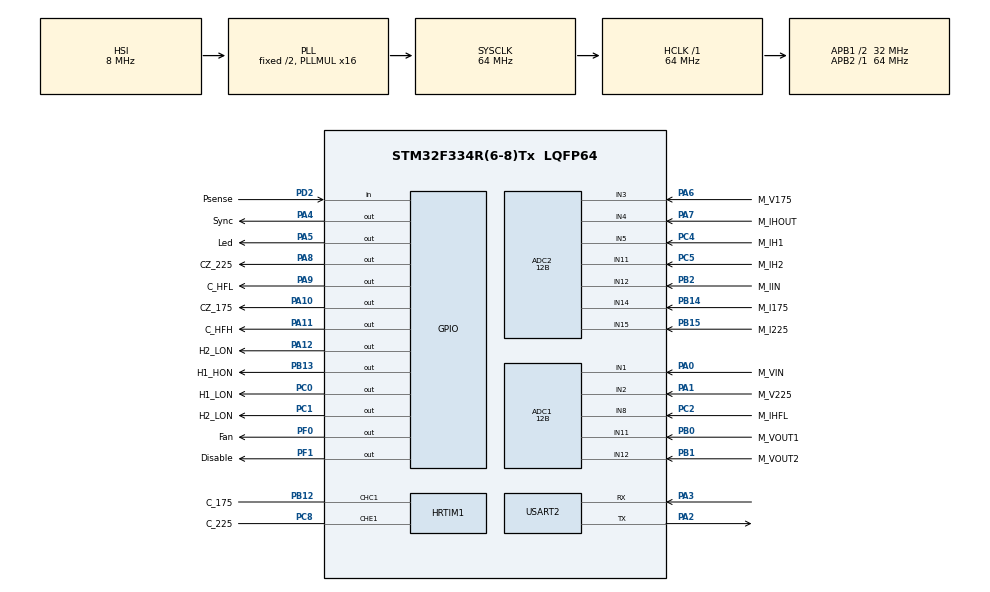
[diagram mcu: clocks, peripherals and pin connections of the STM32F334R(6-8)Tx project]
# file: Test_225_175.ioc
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ADC1.Channel-17\#ChannelRegularConversion=ADC_CHANNEL_1
ADC1.Channel-18\#ChannelRegularConversion=ADC_CHANNEL_2
ADC1.Channel-19\#ChannelRegularConversion=ADC_CHANNEL_8
ADC1.Channel-20\#ChannelRegularConversion=ADC_CHANNEL_11
ADC1.Channel-21\#ChannelRegularConversion=ADC_CHANNEL_12
ADC1.Channel-22\#ChannelRegularConversion=ADC_CHANNEL_TEMPSENSOR
ADC1.ClockPrescaler=ADC_CLOCK_SYNC_PCLK_DIV1
ADC1.ContinuousConvMode=DISABLE
ADC1.DMAContinuousRequests=ENABLE
ADC1.DataAlign=ADC_DATAALIGN_RIGHT
ADC1.DiscontinuousConvMode=DISABLE
ADC1.EOCSelection=ADC_EOC_SEQ_CONV
ADC1.EnableAnalogWatchDog1=false
ADC1.EnableAnalogWatchDog2=false
ADC1.EnableAnalogWatchDog3=false
ADC1.EnableInjectedConversion=DISABLE
ADC1.EnableRegularConversion=ENABLE
ADC1.ExternalTrigConv=ADC_EXTERNALTRIGCONV_T2_TRGO
ADC1.ExternalTrigConvEdge=ADC_EXTERNALTRIGCONVEDGE_RISING
ADC1.LowPowerAutoWait=DISABLE
ADC1.NbrOfConversion=6
ADC1.NbrOfConversionFlag=1
ADC1.Offset-17\#ChannelRegularConversion=0
ADC1.Offset-18\#ChannelRegularConversion=0
ADC1.Offset-19\#ChannelRegularConversion=0
ADC1.Offset-20\#ChannelRegularConversion=0
ADC1.Offset-21\#ChannelRegularConversion=0
ADC1.Offset-22\#ChannelRegularConversion=0
ADC1.OffsetNumber-17\#ChannelRegularConversion=ADC_OFFSET_NONE
ADC1.OffsetNumber-18\#ChannelRegularConversion=ADC_OFFSET_NONE
ADC1.OffsetNumber-19\#ChannelRegularConversion=ADC_OFFSET_NONE
ADC1.OffsetNumber-20\#ChannelRegularConversion=ADC_OFFSET_NONE
ADC1.OffsetNumber-21\#ChannelRegularConversion=ADC_OFFSET_NONE
ADC1.OffsetNumber-22\#ChannelRegularConversion=ADC_OFFSET_NONE
ADC1.Overrun=ADC_OVR_DATA_OVERWRITTEN
ADC1.Rank-17\#ChannelRegularConversion=1
ADC1.Rank-18\#ChannelRegularConversion=2
ADC1.Rank-19\#ChannelRegularConversion=3
ADC1.Rank-20\#ChannelRegularConversion=4
ADC1.Rank-21\#ChannelRegularConversion=5
ADC1.Rank-22\#ChannelRegularConversion=6
ADC1.Resolution=ADC_RESOLUTION_12B
ADC1.SamplingTime-17\#ChannelRegularConversion=ADC_SAMPLETIME_4CYCLES_5
ADC1.SamplingTime-18\#ChannelRegularConversion=ADC_SAMPLETIME_4CYCLES_5
ADC1.SamplingTime-19\#ChannelRegularConversion=ADC_SAMPLETIME_19CYCLES_5
ADC1.SamplingTime-20\#ChannelRegularConversion=ADC_SAMPLETIME_19CYCLES_5
ADC1.SamplingTime-21\#ChannelRegularConversion=ADC_SAMPLETIME_19CYCLES_5
ADC1.SamplingTime-22\#ChannelRegularConversion=ADC_SAMPLETIME_19CYCLES_5
ADC1.ScanConvMode=ADC_SCAN_ENABLE
ADC1.SubFamily=STM32F334x8
ADC1.master=1
ADC2.Channel-0\#ChannelRegularConversion=ADC_CHANNEL_3
ADC2.Channel-1\#ChannelRegularConversion=ADC_CHANNEL_4
ADC2.Channel-2\#ChannelRegularConversion=ADC_CHANNEL_5
ADC2.Channel-3\#ChannelRegularConversion=ADC_CHANNEL_11
ADC2.Channel-4\#ChannelRegularConversion=ADC_CHANNEL_12
ADC2.Channel-5\#ChannelRegularConversion=ADC_CHANNEL_14
ADC2.Channel-7\#ChannelRegularConversion=ADC_CHANNEL_15
ADC2.ClockPrescaler=ADC_CLOCK_SYNC_PCLK_DIV1
ADC2.ContinuousConvMode=DISABLE
ADC2.DMAContinuousRequests=ENABLE
ADC2.DataAlign=ADC_DATAALIGN_RIGHT
ADC2.DiscontinuousConvMode=DISABLE
ADC2.EOCSelection=ADC_EOC_SEQ_CONV
ADC2.EnableAnalogWatchDog1=false
ADC2.EnableAnalogWatchDog2=false
ADC2.EnableAnalogWatchDog3=false
ADC2.EnableInjectedConversion=ENABLE
ADC2.EnableRegularConversion=ENABLE
ADC2.ExternalTrigConv=ADC_EXTERNALTRIGCONV_T2_TRGO
ADC2.ExternalTrigConvEdge=ADC_EXTERNALTRIGCONVEDGE_RISING
ADC2.InjNumberOfConversion=0
ADC2.LowPowerAutoWait=DISABLE
ADC2.NbrOfConversion=7
ADC2.NbrOfConversionFlag=1
ADC2.Offset-0\#ChannelRegularConversion=0
ADC2.Offset-1\#ChannelRegularConversion=0
ADC2.Offset-2\#ChannelRegularConversion=0
ADC2.Offset-3\#ChannelRegularConversion=0
ADC2.Offset-4\#ChannelRegularConversion=0
ADC2.Offset-5\#ChannelRegularConversion=0
ADC2.Offset-7\#ChannelRegularConversion=0
ADC2.OffsetNumber-0\#ChannelRegularConversion=ADC_OFFSET_NONE
ADC2.OffsetNumber-1\#ChannelRegularConversion=ADC_OFFSET_NONE
ADC2.OffsetNumber-2\#ChannelRegularConversion=ADC_OFFSET_NONE
ADC2.OffsetNumber-3\#ChannelRegularConversion=ADC_OFFSET_NONE
ADC2.OffsetNumber-4\#ChannelRegularConversion=ADC_OFFSET_NONE
ADC2.OffsetNumber-5\#ChannelRegularConversion=ADC_OFFSET_NONE
ADC2.OffsetNumber-7\#ChannelRegularConversion=ADC_OFFSET_NONE
ADC2.Overrun=ADC_OVR_DATA_OVERWRITTEN
ADC2.Rank-0\#ChannelRegularConversion=1
ADC2.Rank-1\#ChannelRegularConversion=2
ADC2.Rank-2\#ChannelRegularConversion=3
ADC2.Rank-3\#ChannelRegularConversion=4
ADC2.Rank-4\#ChannelRegularConversion=5
ADC2.Rank-5\#ChannelRegularConversion=6
ADC2.Rank-7\#ChannelRegularConversion=7
ADC2.Resolution=ADC_RESOLUTION_12B
ADC2.SamplingTime-0\#ChannelRegularConversion=ADC_SAMPLETIME_4CYCLES_5
ADC2.SamplingTime-1\#ChannelRegularConversion=ADC_SAMPLETIME_4CYCLES_5
ADC2.SamplingTime-2\#ChannelRegularConversion=ADC_SAMPLETIME_19CYCLES_5
ADC2.SamplingTime-3\#ChannelRegularConversion=ADC_SAMPLETIME_19CYCLES_5
ADC2.SamplingTime-4\#ChannelRegularConversion=ADC_SAMPLETIME_19CYCLES_5
ADC2.SamplingTime-5\#ChannelRegularConversion=ADC_SAMPLETIME_19CYCLES_5
ADC2.SamplingTime-7\#ChannelRegularConversion=ADC_SAMPLETIME_19CYCLES_5
ADC2.ScanConvMode=ADC_SCAN_ENABLE
ADC2.SubFamily=STM32F334x8
Dma.ADC1.0.Direction=DMA_PERIPH_TO_MEMORY
Dma.ADC1.0.Instance=DMA1_Channel1
Dma.ADC1.0.MemDataAlignment=DMA_MDATAALIGN_HALFWORD
Dma.ADC1.0.MemInc=DMA_MINC_ENABLE
Dma.ADC1.0.Mode=DMA_CIRCULAR
Dma.ADC1.0.PeriphDataAlignment=DMA_PDATAALIGN_HALFWORD
Dma.ADC1.0.PeriphInc=DMA_PINC_DISABLE
Dma.ADC1.0.Priority=DMA_PRIORITY_LOW
Dma.ADC2.1.Direction=DMA_PERIPH_TO_MEMORY
Dma.ADC2.1.Instance=DMA1_Channel2
Dma.ADC2.1.MemDataAlignment=DMA_MDATAALIGN_HALFWORD
Dma.ADC2.1.MemInc=DMA_MINC_ENABLE
Dma.ADC2.1.Mode=DMA_CIRCULAR
Dma.ADC2.1.PeriphDataAlignment=DMA_PDATAALIGN_HALFWORD
Dma.ADC2.1.PeriphInc=DMA_PINC_DISABLE
Dma.ADC2.1.Priority=DMA_PRIORITY_LOW
Dma.Request0=ADC1
Dma.Request1=ADC2
HRTIM1.BURSTMODEPeriod=100
HRTIM1.BurstMode-Output_TE1=HRTIM_TIMERBURSTMODE_MAINTAINCLOCK
HRTIM1.ClockSource=HRTIM_BURSTMODECLOCKSOURCE_TIMER_E
HRTIM1.CompareUnit1-Output_TC1=HRTIM_COMPAREUNIT_1
HRTIM1.CompareUnit1-Output_TE1=HRTIM_COMPAREUNIT_1
HRTIM1.CompareUnit2-Output_TE1=__NULL
HRTIM1.CompareValue1-Output_TC1=6192
HRTIM1.CompareValue1-Output_TE1=8192
HRTIM1.CompareValue2-Output_TE1=0x61
HRTIM1.Enable=HRTIM_BURSTMODECTL_DISABLED
HRTIM1.Event_EEV1=__NULL
HRTIM1.Event_EEV2=__NULL
HRTIM1.Event_EEV3=__NULL
HRTIM1.HalfModeEnable-Output_TE1=HRTIM_HALFMODE_DISABLED
HRTIM1.IdleDuration=50
HRTIM1.IdleLevel1-Output_TE1=HRTIM_OUTPUTIDLELEVEL_INACTIVE
HRTIM1.Mode=HRTIM_BURSTMODE_CONTINOUS
HRTIM1.ModeTimeBase-Output_TE1=HRTIM_MODE_CONTINUOUS
HRTIM1.NumberResetSource1-Output_TC1=1
HRTIM1.NumberResetSource1-Output_TE1=1
HRTIM1.NumberResetTrigger-Output_TC1=0
HRTIM1.NumberResetTrigger-Output_TE1=0
HRTIM1.NumberSetSource1-Output_TC1=1
HRTIM1.NumberSetSource1-Output_TE1=1
HRTIM1.NumberUpdateTrigger-Output_TC1=0
HRTIM1.Periode_TC=16384
HRTIM1.Periode_TE=16384
HRTIM1.Polarity1-Output_TE1=HRTIM_OUTPUTPOLARITY_HIGH
HRTIM1.RepetitionUpdate-Output_TE1=HRTIM_UPDATEONREPETITION_DISABLED
HRTIM1.ResetOutput1_Source1-Output_TC1=HRTIM_OUTPUTRESET_TIMCMP1
HRTIM1.ResetOutput1_Source1-Output_TE1=HRTIM_OUTPUTRESET_TIMCMP1
HRTIM1.ResetUpdate-Output_TE1=HRTIM_TIMUPDATEONRESET_DISABLED
HRTIM1.SetOutput1_Source1-Output_TC1=HRTIM_OUTPUTSET_TIMPER
HRTIM1.SetOutput1_Source1-Output_TE1=HRTIM_OUTPUTSET_TIMPER
HRTIM1.Source_EEV3=HRTIM_EVENTSRC_3
Mcu.Family=STM32F3
Mcu.Name=STM32F334R(6-8)Tx
Mcu.Package=LQFP64
NVIC.DMA1_Channel1_IRQn=true\:0\:0\:false\:false\:true\:false
NVIC.DMA1_Channel2_IRQn=true\:0\:0\:false\:false\:true\:false
NVIC.PriorityGroup=NVIC_PRIORITYGROUP_4
NVIC.TIM3_IRQn=true\:0\:0\:false\:false\:true\:true
PA0.GPIO_Label=M_VIN
PA0.Mode=IN1-Single-Ended
PA0.Signal=ADC1_IN1
PA1.GPIO_Label=M_V225
PA1.Mode=IN2-Single-Ended
PA1.Signal=ADC1_IN2
PA10.GPIO_Label=CZ_175
PA10.Signal=GPIO_Output
PA11.GPIO_Label=C_HFH
PA11.Signal=GPIO_Output
PA12.GPIO_Label=H2_LON
PA12.Signal=GPIO_Output
PA2.Mode=Asynchronous
PA2.Signal=USART2_TX
PA3.Mode=Asynchronous
PA3.Signal=USART2_RX
PA4.GPIO_Label=Sync
PA4.GPIO_Speed=GPIO_SPEED_FREQ_HIGH
PA4.Signal=GPIO_Output
PA5.GPIO_Label=Led
PA5.GPIO_Speed=GPIO_SPEED_FREQ_HIGH
PA5.Signal=GPIO_Output
PA6.GPIO_Label=M_V175
PA6.Mode=IN3-Single-Ended
PA6.Signal=ADC2_IN3
PA7.GPIO_Label=M_IHOUT
PA7.Mode=IN4-Single-Ended
PA7.Signal=ADC2_IN4
PA8.GPIO_Label=CZ_225
PA8.Signal=GPIO_Output
PA9.GPIO_Label=C_HFL
PA9.Signal=GPIO_Output
PB0.GPIO_Label=M_VOUT1
PB0.Mode=IN11-Single-Ended
PB0.Signal=ADC1_IN11
PB1.GPIO_Label=M_VOUT2
PB1.Mode=IN12-Single-Ended
PB1.Signal=ADC1_IN12
PB12.GPIO_Label=C_175
PB12.Mode=Output_TC1
PB12.Signal=HRTIM1_CHC1
PB13.GPIO_Label=H1_HON
PB13.Signal=GPIO_Output
PB14.GPIO_Label=M_I175
PB14.Mode=IN14-Single-Ended
PB14.Signal=ADC2_IN14
PB15.GPIO_Label=M_I225
PB15.Mode=IN15-Single-Ended
PB15.Signal=ADC2_IN15
PB2.GPIO_Label=M_IIN
PB2.Mode=IN12-Single-Ended
PB2.Signal=ADC2_IN12
PC0.GPIO_Label=H1_LON
PC0.Signal=GPIO_Output
PC1.GPIO_Label=H2_LON
PC1.Signal=GPIO_Output
PC2.GPIO_Label=M_IHFL
PC2.Signal=ADCx_IN8
PC4.GPIO_Label=M_IH1
PC4.Mode=IN5-Single-Ended
PC4.Signal=ADC2_IN5
PC5.GPIO_Label=M_IH2
PC5.Mode=IN11-Single-Ended
PC5.Signal=ADC2_IN11
PC8.GPIO_Label=C_225
PC8.Mode=Output_TE1
PC8.Signal=HRTIM1_CHE1
PD2.GPIO_Label=Psense
PD2.Signal=GPIO_Input
PF0\ /\ OSC_IN.GPIO_Label=Fan
PF0\ /\ OSC_IN.Signal=GPIO_Output
PF1\ /\ OSC_OUT.GPIO_Label=Disable
PF1\ /\ OSC_OUT.GPIO_Speed=GPIO_SPEED_FREQ_HIGH
PF1\ /\ OSC_OUT.PinState=GPIO_PIN_SET
PF1\ /\ OSC_OUT.Signal=GPIO_Output
ProjectManager.HeapSize=0x200
ProjectManager.StackSize=0x400
ProjectManager.TargetToolchain=Other Toolchains (GPDSC)
RCC.AHBFreq_Value=64000000
RCC.APB1CLKDivider=RCC_HCLK_DIV2
RCC.APB1Freq_Value=32000000
RCC.APB1TimFreq_Value=64000000
RCC.APB2Freq_Value=64000000
RCC.APB2TimFreq_Value=64000000
RCC.CortexFreq_Value=64000000
RCC.HCLKFreq_Value=64000000
RCC.HRTIMSelection=RCC_HRTIM1CLK_PLLCLK
RCC.HSE_VALUE=8000000
RCC.HSI_VALUE=8000000
RCC.LSE_VALUE=32768
RCC.PLLMUL=RCC_PLL_MUL16
RCC.SYSCLKFreq_VALUE=64000000
RCC.SYSCLKSourceVirtual=RCC_SYSCLKSOURCE_PLLCLK
SH.ADCx_IN8.0=ADC1_IN8,IN8-Single-Ended
TIM2.Channel-Output\ Compare1\ No\ Output=TIM_CHANNEL_1
TIM2.OCMode_1=TIM_OCMODE_TOGGLE
TIM2.Period=200
TIM2.Prescaler=64
TIM2.Pulse-Output\ Compare1\ No\ Output=1
TIM2.TIM_MasterOutputTrigger=TIM_TRGO_UPDATE
TIM3.Channel-Output\ Compare3\ No\ Output=TIM_CHANNEL_3
TIM3.OCMode_3=TIM_OCMODE_TOGGLE
TIM3.Period=200
TIM3.Prescaler=64
TIM3.Pulse-Output\ Compare3\ No\ Output=1
TIM3.TIM_MasterOutputTrigger=TIM_TRGO_UPDATE
USART2.VirtualMode-Asynchronous=VM_ASYNC
USART2.WordLength=WORDLENGTH_8B
VP_ADC1_TempSens_Input.Mode=IN-TempSens
VP_CRC_VS_CRC.Mode=CRC_Activate
VP_TIM2_VS_ClockSourceINT.Mode=Internal
VP_TIM2_VS_no_output1.Mode=Output Compare1 No Output
VP_TIM3_VS_ClockSourceINT.Mode=Internal
VP_TIM3_VS_no_output3.Mode=Output Compare3 No Output
board=Test_225_175

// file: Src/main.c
/**
  ******************************************************************************
  * File Name          : main.c
  * Description        : Main program body
  ******************************************************************************
  ** This notice applies to any and all portions of this file
  * that are not between comment pairs USER CODE BEGIN and
  * USER CODE END. Other portions of this file, whether
  * inserted by the user or by software development tools
  * are owned by their respective copyright owners.
  *
  * COPYRIGHT(c) 2017 STMicroelectronics
  *
  * Redistribution and use in source and binary forms, with or without modification,
  * are permitted provided that the following conditions are met:
  *   1. Redistributions of source code must retain the above copyright notice,
  *      this list of conditions and the following disclaimer.
  *   2. Redistributions in binary form must reproduce the above copyright notice,
  *      this list of conditions and the following disclaimer in the documentation
  *      and/or other materials provided with the distribution.
  *   3. Neither the name of STMicroelectronics nor the names of its contributors
  *      may be used to endorse or promote products derived from this software
  *      without specific prior written permission.
  *
  * THIS SOFTWARE IS PROVIDED BY THE COPYRIGHT HOLDERS AND CONTRIBUTORS "AS IS"
  * AND ANY EXPRESS OR IMPLIED WARRANTIES, INCLUDING, BUT NOT LIMITED TO, THE
  * IMPLIED WARRANTIES OF MERCHANTABILITY AND FITNESS FOR A PARTICULAR PURPOSE ARE
  * DISCLAIMED. IN NO EVENT SHALL THE COPYRIGHT HOLDER OR CONTRIBUTORS BE LIABLE
  * FOR ANY DIRECT, INDIRECT, INCIDENTAL, SPECIAL, EXEMPLARY, OR CONSEQUENTIAL
  * DAMAGES (INCLUDING, BUT NOT LIMITED TO, PROCUREMENT OF SUBSTITUTE GOODS OR
  * SERVICES; LOSS OF USE, DATA, OR PROFITS; OR BUSINESS INTERRUPTION) HOWEVER
  * CAUSED AND ON ANY THEORY OF LIABILITY, WHETHER IN CONTRACT, STRICT LIABILITY,
  * OR TORT (INCLUDING NEGLIGENCE OR OTHERWISE) ARISING IN ANY WAY OUT OF THE USE
  * OF THIS SOFTWARE, EVEN IF ADVISED OF THE POSSIBILITY OF SUCH DAMAGE.
  *
  ******************************************************************************
  */
#include "main.h"
#include "stm32f3xx_hal.h"
#include "adc.h"
#include "crc.h"
#include "dma.h"
#include "hrtim.h"
#include "tim.h"
#include "usart.h"
#include "gpio.h"

/* USER CODE BEGIN Includes */
#include <stdbool.h>
/* USER CODE END Includes */

/* USER CODE BEGIN PV */
/* Private variables ---------------------------------------------------------*/

/* USER CODE END PV */

void SystemClock_Config(void);

/* USER CODE BEGIN PFP */
/* Private function prototypes -----------------------------------------------*/

/* USER CODE END PFP */

/* USER CODE BEGIN 0 */
void delay_us_DWT(int uSec)
{
	volatile uint32_t cycles = (SystemCoreClock / 1000000L)*uSec;
	volatile uint32_t start = DWT->CYCCNT;
	do {
	} while (DWT->CYCCNT - start < cycles);
}
#define ADC_BUFFER1_LENGTH 6
uint16_t g_ADCBuffer1[ADC_BUFFER1_LENGTH];
uint16_t * pM_VIN = &g_ADCBuffer1[0];
uint16_t * pM_V225 = &g_ADCBuffer1[1];
uint16_t * pM_IHFL = &g_ADCBuffer1[2];
uint16_t * pM_VOUT1 = &g_ADCBuffer1[3];
uint16_t * pM_VOUT2 = &g_ADCBuffer1[4];
uint16_t * pM_Temp = &g_ADCBuffer1[5];

#define ADC_BUFFER2_LENGTH 7
uint16_t g_ADCBuffer2[ADC_BUFFER2_LENGTH];
uint16_t * pM_V175 = &g_ADCBuffer2[0];
uint16_t * pM_IOUT = &g_ADCBuffer2[1];
uint16_t * pM_IH1 = &g_ADCBuffer2[2];
uint16_t * pM_IH2 = &g_ADCBuffer2[3];
uint16_t * pM_IIN = &g_ADCBuffer2[4];
uint16_t * pM_I175 = &g_ADCBuffer2[5];
uint16_t * pM_I225 = &g_ADCBuffer2[5];
const float mvFactor1 = 3300.0 / 4096 * 4422 / 22;
const float mvFactor2 = 3300.0 / 4096 * 2222 / 22;
const float iFactor = 1;

float fM_VIN, fM_V225, fM_IHFL, fM_VOUT1, fM_VOUT2, fM_Temp;
float fM_V175, fM_IOUT, fM_IH1, fM_IH2, fM_IIN, fM_I175, fM_I225;

int g_MeasurementNumber = 0;
int g_DMACount = 0;

void doSyncOn(){
	HAL_GPIO_WritePin(Sync_GPIO_Port, Sync_Pin, GPIO_PIN_SET);
}
void doSyncOff()
{
	HAL_GPIO_WritePin(Sync_GPIO_Port, Sync_Pin, GPIO_PIN_RESET);
}
void doLedOn(){
	HAL_GPIO_WritePin(Led_GPIO_Port, Led_Pin, GPIO_PIN_SET);
}
void doLedOff(){
	HAL_GPIO_WritePin(Led_GPIO_Port, Led_Pin, GPIO_PIN_RESET);
}
void doLed()
{
	HAL_GPIO_WritePin(Led_GPIO_Port, Led_Pin, GPIO_PIN_SET);
	HAL_GPIO_WritePin(Led_GPIO_Port, Led_Pin, GPIO_PIN_SET);
}

#define period  16364
static unsigned short compare_225 = period / 2;
static unsigned short compare_175 = period / 2;

bool stopped_225;
bool stopped_175;

#define max(a,b) (a>b?a:b)
#define min(a,b) (a>b?b:a)

void adjust_225_175()
{
	doLedOff();
	doLedOn();

	if (fabs(fM_VIN) < 10){
		return; // low voltage at input
	}
	float target_175 = fM_VIN * 0.45;
	float target_225 = fM_VIN * 0.55;

	float diff_175 = (target_175 - fM_V175) / fM_VIN;
	float diff_225 = (target_225 -fM_V225) / fM_VIN;
	int diff;

	HRTIM_CompareCfgTypeDef compareCfg;

	// 225 Timer E1 -> PC8  C_225 -> P1 -> U1(2) -> P23(1) -> Q1 L1 Q3 D3
	diff = diff_225 * period / 8;
	int sign_or_0 = (0 < diff) - (diff < 0);
	diff =  (diff ? sign_or_0 : 0) + diff * max(compare_225,96) / 40000;

	compareCfg.CompareValue = min(period - 96, max(95, compare_225 - diff));
	compare_225 = compareCfg.CompareValue; // remember previous value;

	if (compareCfg.CompareValue < 96) { // force inactive
		stopped_225 = true;
		HAL_HRTIM_WaveformOutputStop(&hhrtim1,
			HRTIM_OUTPUT_TE1);
		HAL_HRTIM_WaveformSetOutputLevel(&hhrtim1,
			HRTIM_TIMERINDEX_TIMER_E,
			HRTIM_OUTPUT_TE1,
			HRTIM_OUTPUTLEVEL_INACTIVE);
	} else if (compareCfg.CompareValue >= period - 96) { // force active
		stopped_225 = true;
		HAL_HRTIM_WaveformOutputStop(&hhrtim1,
			HRTIM_OUTPUT_TE1);
		HAL_HRTIM_WaveformSetOutputLevel(&hhrtim1,
			HRTIM_TIMERINDEX_TIMER_E,
			HRTIM_OUTPUT_TE1,
			HRTIM_OUTPUTLEVEL_ACTIVE);
	} else {
		if (stopped_225){
			HAL_HRTIM_WaveformOutputStart(&hhrtim1,
				HRTIM_OUTPUT_TE1);
			stopped_225 = false;
		}
		HAL_HRTIM_WaveformCompareConfig(&hhrtim1,
			HRTIM_TIMERINDEX_TIMER_E,
			HRTIM_COMPAREUNIT_1,
			&compareCfg);
	}

		// 175 Timer C1 -> PB12 C_175  -> P2 -> U1(1) -> P24(1) -> Q2 L2 Q4 D4
	diff = diff_175 * period / 8;
	sign_or_0 = (0 < diff) - (diff < 0);
	diff =  (diff ? sign_or_0 : 0) + diff *  max(compare_175, 96) / 40000;

	compareCfg.CompareValue = min(period - 96, max(95, compare_175 + diff));
	compare_175 = compareCfg.CompareValue;

	if (compareCfg.CompareValue < 96) {
		stopped_175 = true;
		HAL_HRTIM_WaveformOutputStop(&hhrtim1,
			HRTIM_OUTPUT_TC1);
		HAL_HRTIM_WaveformSetOutputLevel(&hhrtim1,
			HRTIM_TIMERINDEX_TIMER_C,
			HRTIM_OUTPUT_TC1,
			HRTIM_OUTPUTLEVEL_INACTIVE);
	} else if (compareCfg.CompareValue >= period - 96) {
		stopped_175 = true;
		HAL_HRTIM_WaveformOutputStop(&hhrtim1,
			HRTIM_OUTPUT_TC1);
		HAL_HRTIM_WaveformSetOutputLevel(&hhrtim1,
			HRTIM_TIMERINDEX_TIMER_C,
			HRTIM_OUTPUT_TC1,
			HRTIM_OUTPUTLEVEL_ACTIVE);
	} else {
		if (stopped_175) {
			HAL_HRTIM_WaveformOutputStart(&hhrtim1,
				HRTIM_OUTPUT_TC1);
			stopped_175 = false;
		}
		HAL_HRTIM_WaveformCompareConfig(&hhrtim1,
			HRTIM_TIMERINDEX_TIMER_C,
			HRTIM_COMPAREUNIT_1,
			&compareCfg);
	}
	doLedOff();
}

void HAL_ADC_ConvCpltCallback(ADC_HandleTypeDef* adcHandle)
{// end of DMA
	if (adcHandle == &hadc2){
		g_MeasurementNumber++;
		fM_VIN = g_ADCBuffer1[0] *mvFactor1;
		fM_V175 = g_ADCBuffer1[1] *mvFactor2;
		fM_IHFL = g_ADCBuffer1[2] *iFactor;
		fM_VOUT1 = g_ADCBuffer1[3] *mvFactor1;
		fM_VOUT2 = g_ADCBuffer1[4] *mvFactor1;
		fM_Temp = g_ADCBuffer1[5] *1;
		// ADC2
		fM_V225 = g_ADCBuffer2[0] *mvFactor2;
		fM_IOUT = g_ADCBuffer2[1] *mvFactor1;
		fM_IH1 = g_ADCBuffer2[2] *iFactor;
		fM_IH2 = g_ADCBuffer2[3] *iFactor;
		fM_IIN = g_ADCBuffer2[4] *iFactor;
		fM_I175 = g_ADCBuffer2[5] *iFactor;
		fM_I225 = g_ADCBuffer2[6] *iFactor;
		adjust_225_175();
	}

}

void HAL_TIM_OC_DelayElapsedCallback(TIM_HandleTypeDef *htim){
	if (htim == &htim3) {
		doLedOn();
	}
}

void HAL_TIM_PeriodElapsedCallback(TIM_HandleTypeDef *htim){
	if (htim == &htim3) {
		doLedOn();
	}
}

void doPin(GPIO_TypeDef* port, uint16_t pin)
{
	HAL_GPIO_WritePin(port, pin, GPIO_PIN_SET);
	delay_us_DWT(100);

	//HAL_GPIO_WritePin(Disable_GPIO_Port, Disable_Pin, GPIO_PIN_SET);
	delay_us_DWT(100);
	//HAL_GPIO_WritePin(Disable_GPIO_Port, Disable_Pin, GPIO_PIN_RESET);
	delay_us_DWT(100);
	HAL_GPIO_WritePin(port, pin, GPIO_PIN_RESET);
	delay_us_DWT(100);
}

/* USER CODE END 0 */

int main(void)
{

  /* USER CODE BEGIN 1 */
	DWT->CYCCNT = 0;
  // Enable hi resolution counter
	DWT->CTRL &= ~0x00000001;
	DWT->CTRL |= 0x00000001;
  /* USER CODE END 1 */

  /* MCU Configuration----------------------------------------------------------*/

  /* Reset of all peripherals, Initializes the Flash interface and the Systick. */
  HAL_Init();

  /* Configure the system clock */
  SystemClock_Config();

  /* Initialize all configured peripherals */
  MX_GPIO_Init();
  MX_DMA_Init();
  MX_ADC1_Init();
  MX_ADC2_Init();
  MX_USART2_UART_Init();
  MX_CRC_Init();
  MX_TIM3_Init();
  MX_HRTIM1_Init();
  MX_TIM2_Init();

  /* USER CODE BEGIN 2 */
  	//HAL_TIM_OC_Start(&htim3, TIM_CHANNEL_1);
	HAL_Delay(10);
	HAL_ADCEx_Calibration_Start(&hadc1, ADC_SINGLE_ENDED);
	HAL_ADCEx_Calibration_Start(&hadc2, ADC_SINGLE_ENDED);
	HAL_Delay(10);
	HAL_TIM_OC_Start_IT(&htim3, TIM_CHANNEL_3);
	HAL_TIM_OC_Start(&htim2, TIM_CHANNEL_1);
	HAL_ADC_Start_DMA(&hadc1, (uint32_t*) g_ADCBuffer1, ADC_BUFFER1_LENGTH);
	HAL_ADC_Start_DMA(&hadc2, (uint32_t*) g_ADCBuffer2, ADC_BUFFER2_LENGTH);

	//HAL_HRTIM_SimpleBaseStart(&hhrtim1, HRTIM_TIMERINDEX_TIMER_E);

	//HAL_HRTIM_WaveformCounterStart(&hhrtim1,		HRTIM_TIMERINDEX_TIMER_E);
	HAL_HRTIM_SimpleOCStart(&hhrtim1, HRTIM_TIMERINDEX_TIMER_C, HRTIM_COMPAREUNIT_1);
	HAL_HRTIM_WaveformOutputStart(&hhrtim1, HRTIM_OUTPUT_TC1);
	HAL_HRTIM_SimpleOCStart(&hhrtim1, HRTIM_TIMERINDEX_TIMER_E, HRTIM_COMPAREUNIT_1);
	HAL_HRTIM_WaveformOutputStart(&hhrtim1, HRTIM_OUTPUT_TE1);

	HAL_GPIO_WritePin(Disable_GPIO_Port, Disable_Pin, GPIO_PIN_RESET); // enable everything
  /* USER CODE END 2 */

  /* Infinite loop */
  while (1)
  {

  /* USER CODE BEGIN 3 */
	  //adjust_225_175();
	  HAL_Delay(1);
  }
  /* USER CODE END 3 */

}

/** System Clock Configuration
*/
void SystemClock_Config(void)
{

  RCC_OscInitTypeDef RCC_OscInitStruct;
  RCC_ClkInitTypeDef RCC_ClkInitStruct;
  RCC_PeriphCLKInitTypeDef PeriphClkInit;

    /**Initializes the CPU, AHB and APB busses clocks
    */
  RCC_OscInitStruct.OscillatorType = RCC_OSCILLATORTYPE_HSI;
  RCC_OscInitStruct.HSIState = RCC_HSI_ON;
  RCC_OscInitStruct.HSICalibrationValue = 16;
  RCC_OscInitStruct.PLL.PLLState = RCC_PLL_ON;
  RCC_OscInitStruct.PLL.PLLSource = RCC_PLLSOURCE_HSI;
  RCC_OscInitStruct.PLL.PLLMUL = RCC_PLL_MUL16;
  if (HAL_RCC_OscConfig(&RCC_OscInitStruct) != HAL_OK)
  {
    _Error_Handler(__FILE__, __LINE__);
  }

    /**Initializes the CPU, AHB and APB busses clocks
    */
  RCC_ClkInitStruct.ClockType = RCC_CLOCKTYPE_HCLK|RCC_CLOCKTYPE_SYSCLK
                              |RCC_CLOCKTYPE_PCLK1|RCC_CLOCKTYPE_PCLK2;
  RCC_ClkInitStruct.SYSCLKSource = RCC_SYSCLKSOURCE_PLLCLK;
  RCC_ClkInitStruct.AHBCLKDivider = RCC_SYSCLK_DIV1;
  RCC_ClkInitStruct.APB1CLKDivider = RCC_HCLK_DIV2;
  RCC_ClkInitStruct.APB2CLKDivider = RCC_HCLK_DIV1;

  if (HAL_RCC_ClockConfig(&RCC_ClkInitStruct, FLASH_LATENCY_2) != HAL_OK)
  {
    _Error_Handler(__FILE__, __LINE__);
  }

  PeriphClkInit.PeriphClockSelection = RCC_PERIPHCLK_HRTIM1;
  PeriphClkInit.Hrtim1ClockSelection = RCC_HRTIM1CLK_PLLCLK;
  if (HAL_RCCEx_PeriphCLKConfig(&PeriphClkInit) != HAL_OK)
  {
    _Error_Handler(__FILE__, __LINE__);
  }

    /**Configure the Systick interrupt time
    */
  HAL_SYSTICK_Config(HAL_RCC_GetHCLKFreq()/1000);

    /**Configure the Systick
    */
  HAL_SYSTICK_CLKSourceConfig(SYSTICK_CLKSOURCE_HCLK);

  /* SysTick_IRQn interrupt configuration */
  HAL_NVIC_SetPriority(SysTick_IRQn, 0, 0);
}

void _Error_Handler(char * file, int line)
{
  while(1)
  {
  }
}

/************************ (C) COPYRIGHT STMicroelectronics *****END OF FILE****/
